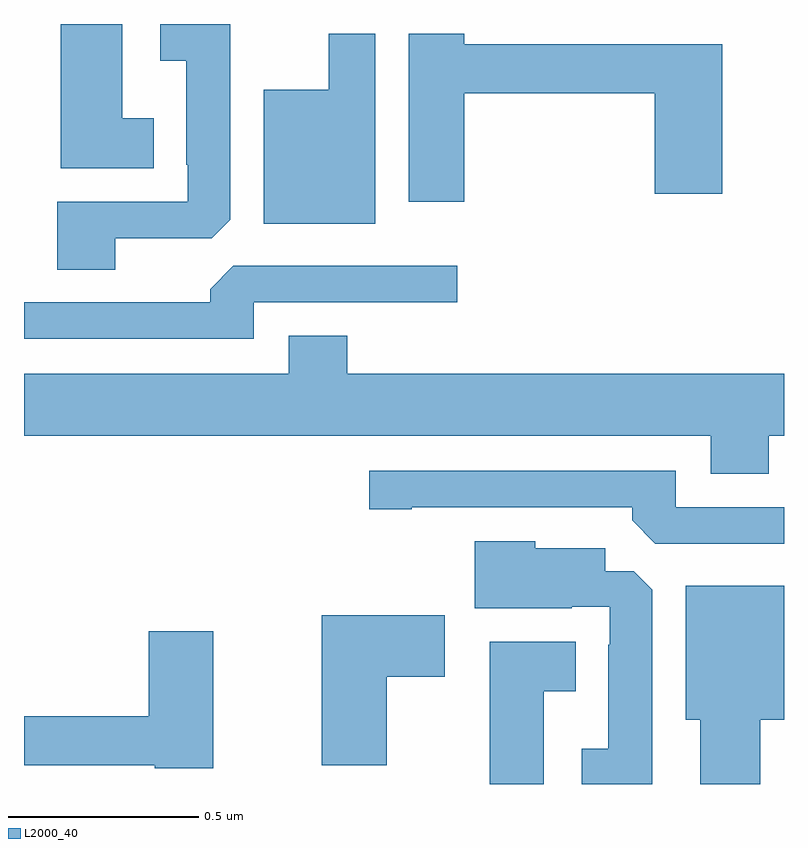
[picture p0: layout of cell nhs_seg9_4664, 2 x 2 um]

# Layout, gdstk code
import gdstk
lib = gdstk.Library(unit=1e-6, precision=1e-09)
def P(c, l, *ps):  # polygons
    for p in ps: c.add(gdstk.Polygon(p, *l))
L2000_40 = (2000, 40)

nhs_seg9_4664 = lib.new_cell('nhs_seg9_4664')
P(nhs_seg9_4664, L2000_40, [(169.342,1201.252),(169.258,1201.252),(169.258,1201.5),(169.097,1201.5),(169.097,1201.121),(169.342,1201.121)],
  [(169.24,1200.936),(169.494,1200.936),(169.543,1200.985),(169.543,1201.5),(169.358,1201.5),(169.358,1201.403),(169.427,1201.403),(169.427,1201.129),(169.431,1201.129),(169.431,1201.032),(169.088,1201.032),(169.088,1200.853),(169.24,1200.853)],
  [(169.924,1201.474),(169.802,1201.474),(169.802,1201.327),(169.631,1201.327),(169.631,1200.974),(169.924,1200.974)],
  [(170.159,1201.318),(170.66,1201.318),(170.66,1201.053),(170.838,1201.053),(170.838,1201.447),(170.159,1201.447),(170.159,1201.474),(170.012,1201.474),(170.012,1201.032),(170.159,1201.032)],
  [(169.605,1200.768),(170.14,1200.768),(170.14,1200.864),(169.551,1200.864),(169.49,1200.802),(169.49,1200.768),(169,1200.768),(169,1200.672),(169.605,1200.672)],
  [(170.96,1200.416),(171,1200.416),(171,1200.58),(169.85,1200.58),(169.85,1200.679),(169.697,1200.679),(169.697,1200.58),(169,1200.58),(169,1200.416),(170.807,1200.416),(170.807,1200.317),(170.96,1200.317)],
  [(171,1200.228),(170.715,1200.228),(170.715,1200.324),(169.908,1200.324),(169.908,1200.223),(170.02,1200.223),(170.02,1200.228),(170.6,1200.228),(170.6,1200.194),(170.661,1200.132),(171,1200.132)],
  [(170.653,1200.011),(170.604,1200.06),(170.53,1200.06),(170.53,1200.121),(170.346,1200.121),(170.346,1200.139),(170.186,1200.139),(170.186,1199.963),(170.441,1199.963),(170.441,1199.967),(170.541,1199.967),(170.541,1199.867),(170.537,1199.867),(170.537,1199.593),(170.468,1199.593),(170.468,1199.5),(170.653,1199.5)],
  [(170.938,1199.669),(171,1199.669),(171,1200.022),(170.741,1200.022),(170.741,1199.669),(170.78,1199.669),(170.78,1199.5),(170.938,1199.5)],
  [(169.954,1199.782),(170.107,1199.782),(170.107,1199.944),(169.784,1199.944),(169.784,1199.549),(169.954,1199.549)],
  [(169.498,1199.902),(169.328,1199.902),(169.328,1199.678),(169,1199.678),(169,1199.55),(169.344,1199.55),(169.344,1199.542),(169.498,1199.542)],
  [(170.368,1199.744),(170.452,1199.744),(170.452,1199.875),(170.225,1199.875),(170.225,1199.5),(170.368,1199.5)])

lib.write_gds('nhs_seg9_4664.gds')
